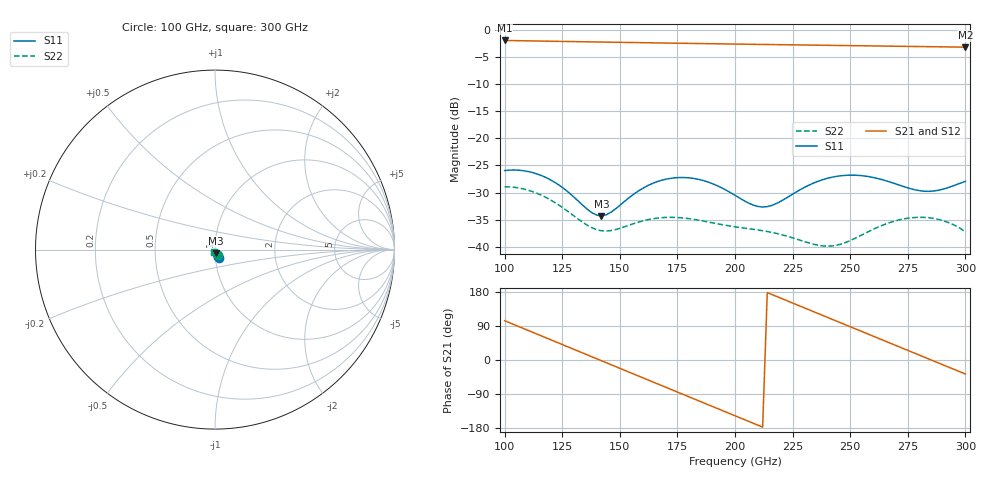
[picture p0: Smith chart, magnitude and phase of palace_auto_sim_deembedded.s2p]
! Created with skrf 1.11.0 (http://scikit-rf.org).
# GHz S DB R 50.0
!freq dBS11 angS11 dBS21 angS21 dBS12 angS12 dBS22 angS22
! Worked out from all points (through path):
!   101 points, 100 GHz to 300 GHz, reference 50 ohm
!   highest |S21| = -1.97 dB at 100 GHz (marker M1); lowest = -3.2 dB at 300 GHz (marker M2)
!   group delay of S21, straight-line fit = 6.95 ps
!   lowest |S11| = -34.3 dB at 142 GHz (marker M3), VSWR 1.04, Z = 50.3 - j1.91 ohm
!   |S11| at or under -10 dB: start of sweep to end of sweep
!   |S22| runs from -39.9 to -28.9 dB; largest |S21 - S12| = 9.2e-14
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100  -25.95 -64.5  -1.97 103.7  -1.97 103.7  -28.94 -59.4
108  -25.96 -78.6  -2.03 83.6  -2.03 83.6  -29.31 -71.8
116  -26.87 -91.5  -2.08 63.5  -2.08 63.5  -30.49 -82.7
126  -29.36 -102.7  -2.15 38.4  -2.15 38.4  -33.03 -91.0
134  -32.37 -100.7  -2.21 18.3  -2.21 18.3  -35.50 -88.5
142  -34.30 -79.5  -2.26 -1.8  -2.26 -1.8  -37.04 -75.8
154  -30.96 -57.6  -2.34 -31.9  -2.34 -31.9  -36.02 -61.1
168  -27.75 -68.5  -2.43 -67.0  -2.43 -67.0  -34.63 -65.2
176  -27.23 -79.1  -2.48 -87.1  -2.48 -87.1  -34.63 -70.5
184  -27.55 -89.4  -2.53 -107.1  -2.53 -107.1  -35.07 -75.0
200  -30.51 -99.3  -2.64 -147.1  -2.64 -147.1  -36.31 -78.2
210  -32.57 -86.8  -2.69 -172.2  -2.69 -172.2  -36.90 -79.2
216  -32.37 -74.1  -2.73 172.8  -2.73 172.8  -37.34 -80.2
224  -30.56 -64.5  -2.77 152.8  -2.77 152.8  -38.21 -80.4
234  -28.27 -66.2  -2.83 127.8  -2.83 127.8  -39.51 -75.1
242  -27.18 -72.9  -2.88 107.8  -2.88 107.8  -39.84 -65.1
250  -26.79 -80.9  -2.92 87.8  -2.92 87.8  -38.85 -55.9
258  -27.06 -88.3  -2.97 67.8  -2.97 67.8  -37.18 -53.9
268  -28.16 -93.3  -3.02 42.9  -3.02 42.9  -35.42 -60.9
284  -29.78 -83.5  -3.11 2.9  -3.11 2.9  -34.63 -83.0
292  -29.16 -75.5  -3.16 -17.0  -3.16 -17.0  -35.41 -95.7
300  -27.93 -72.7  -3.20 -37.0  -3.20 -37.0  -37.25 -107.2
